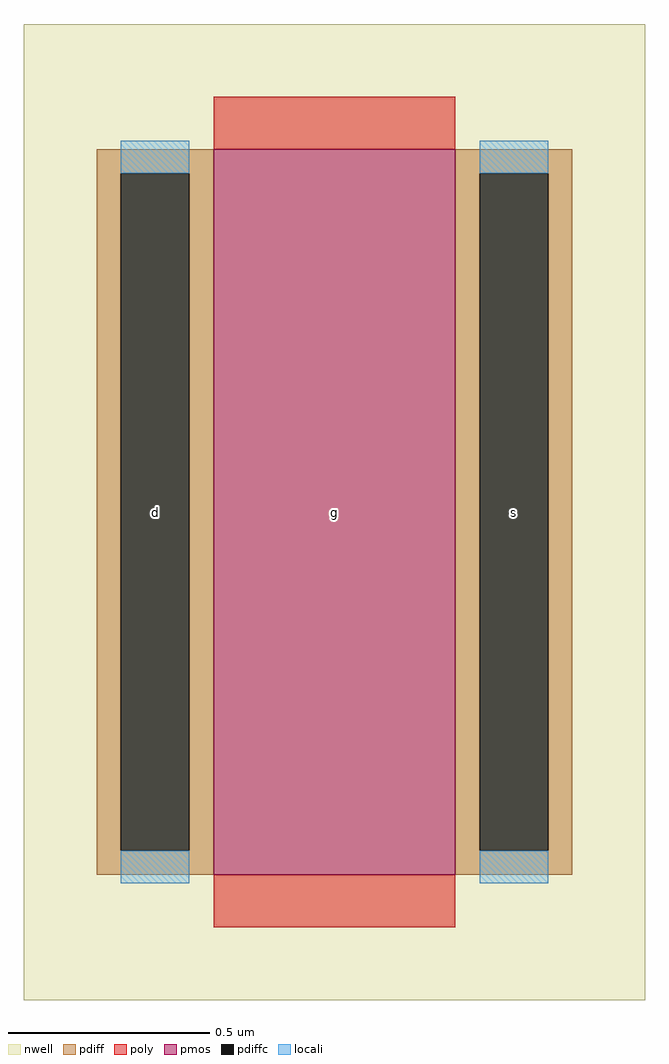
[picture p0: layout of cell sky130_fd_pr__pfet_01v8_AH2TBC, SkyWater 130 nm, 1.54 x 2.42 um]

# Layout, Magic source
magic
tech sky130A
magscale 1 2
<< nwell >>
rect -154 -242 154 242
<< pmos >>
rect -60 -180 60 180
<< pdiff >>
rect -118 168 -60 180
rect -118 -168 -106 168
rect -72 -168 -60 168
rect -118 -180 -60 -168
rect 60 168 118 180
rect 60 -168 72 168
rect 106 -168 118 168
rect 60 -180 118 -168
<< pdiffc >>
rect -106 -168 -72 168
rect 72 -168 106 168
<< poly >>
rect -60 180 60 206
rect -60 -206 60 -180
<< locali >>
rect -106 168 -72 184
rect -106 -184 -72 -168
rect 72 168 106 184
rect 72 -184 106 -168
<< labels >>
flabel pdiffc -89 0 -89 0 0 FreeSans 80 0 0 0 d
flabel pdiffc 89 0 89 0 0 FreeSans 80 0 0 0 s
flabel pmos -60 -180 60 180 0 FreeSans 80 0 0 0 g
<< properties >>
string gencell sky130_fd_pr__pfet_01v8
string library sky130
string parameters w 1.8 l 0.6 m 1 nf 1 diffcov 100 polycov 100 guard 0 glc 0 grc 0 gtc 0 gbc 0 tbcov 100 rlcov 100 topc 0 botc 0 poverlap 0 doverlap 1 lmin 0.15 wmin 0.42 compatible {sky130_fd_pr__pfet_01v8  sky130_fd_pr__pfet_01v8_lvt sky130_fd_pr__pfet_01v8_hvt  sky130_fd_pr__pfet_g5v0d10v5} full_metal 1 viasrc 100 viadrn 100 viagate 100 viagb 0 viagr 0 viagl 0 viagt 0
<< end >>
